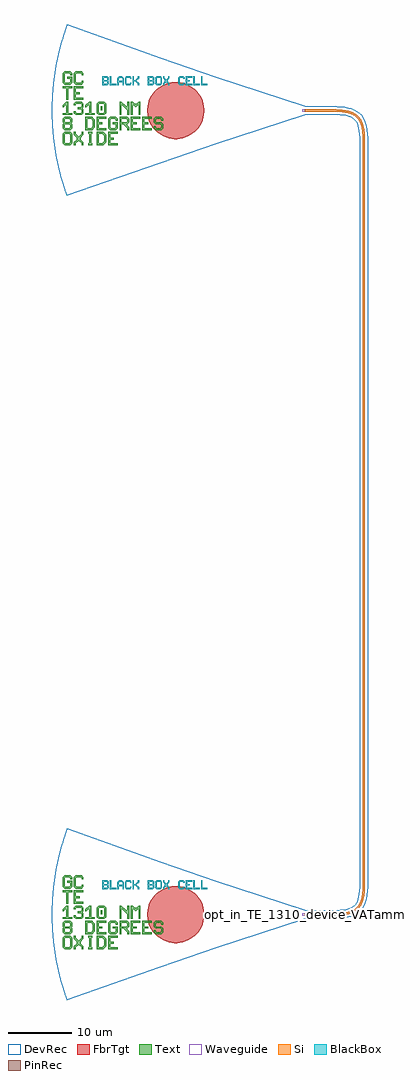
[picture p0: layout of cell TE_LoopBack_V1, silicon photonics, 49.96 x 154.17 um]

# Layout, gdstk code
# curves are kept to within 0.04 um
import gdstk
lib = gdstk.Library(unit=1e-6, precision=1e-09)
def R(c, l, rs):  # rectangles x0, y0, x1, y1
    for r in rs: c.add(gdstk.rectangle(r[:2], r[2:], *l))
def P(c, l, *ps):  # polygons
    for p in ps: c.add(gdstk.Polygon(p, *l))
Si = (1, 0)
PinRec = (1, 10)
Waveguide = (1, 99)
Text = (10, 0)
DevRec = (68, 0)
FbrTgt = (81, 0)
BlackBox = (998, 0)

waveguide_13 = lib.new_cell('Waveguide$13')
P(waveguide_13, Si, [(39.99,267.265),(39.99,267.615),(45.336,267.643),(46.522,267.783),(47.435,268.059),(47.845,268.284),(48.186,268.564),(48.467,268.906),(48.692,269.316),(48.997,270.383),(49.118,271.608),(49.135,389.44),(49.095,390.652),(48.937,391.798),(48.785,392.33),(48.585,392.78),(48.333,393.155),(48.024,393.464),(47.319,393.871),(46.367,394.127),(45.335,394.238),(39.99,394.265),(39.99,394.615),(45.158,394.598),(46.262,394.498),(47.18,394.292),(47.931,393.957),(48.434,393.564),(48.826,393.062),(49.161,392.311),(49.367,391.393),(49.475,390.086),(49.468,271.592),(49.312,270.163),(49.162,269.57),(48.954,269.051),(48.683,268.605),(48.343,268.229),(47.932,267.924),(47.577,267.739),(46.588,267.439),(45.356,267.293)])
P(waveguide_13, Waveguide, [(39.99,267.265),(39.99,267.615),(45.336,267.643),(46.522,267.783),(47.435,268.059),(47.845,268.284),(48.186,268.564),(48.467,268.906),(48.692,269.316),(48.997,270.383),(49.118,271.608),(49.135,389.44),(49.095,390.652),(48.937,391.798),(48.785,392.33),(48.585,392.78),(48.333,393.155),(48.024,393.464),(47.319,393.871),(46.367,394.127),(45.335,394.238),(39.99,394.265),(39.99,394.615),(45.158,394.598),(46.262,394.498),(47.18,394.292),(47.931,393.957),(48.434,393.564),(48.826,393.062),(49.161,392.311),(49.367,391.393),(49.475,390.086),(49.468,271.592),(49.312,270.163),(49.162,269.57),(48.954,269.051),(48.683,268.605),(48.343,268.229),(47.932,267.924),(47.577,267.739),(46.588,267.439),(45.356,267.293)])
P(waveguide_13, DevRec, [(39.99,266.765),(39.99,268.115),(45.547,268.158),(46.519,268.293),(46.909,268.395),(47.508,268.662),(47.735,268.826),(48.089,269.243),(48.356,269.842),(48.537,270.685),(48.625,271.788),(48.635,389.44),(48.592,390.677),(48.457,391.649),(48.355,392.039),(48.088,392.638),(47.924,392.865),(47.507,393.219),(46.908,393.486),(46.065,393.667),(44.962,393.755),(39.99,393.765),(39.99,395.115),(45.008,395.105),(46.251,395.005),(47.314,394.774),(48.221,394.365),(48.61,394.081),(49.234,393.352),(49.643,392.445),(49.874,391.382),(49.974,390.14),(49.975,271.742),(49.778,269.946),(49.465,268.962),(48.951,268.14),(48.611,267.8),(47.789,267.286),(46.805,266.973),(45.655,266.812)])
waveguide_13.add(gdstk.FlexPath([(40,394.44),(39.98,394.44)], 0.35, ends="flush", simple_path=True, layer=1, datatype=10))  # PinRec
waveguide_13.add(gdstk.FlexPath([(40,267.44),(39.98,267.44)], 0.35, ends="flush", simple_path=True, layer=1, datatype=10))  # PinRec
waveguide_13.add(gdstk.Label('opt1', (39.99,394.44), layer=1, texttype=10))
waveguide_13.add(gdstk.Label('opt2', (39.99,267.44), layer=1, texttype=10))
waveguide_13.add(gdstk.Label('Lumerical_INTERCONNECT_library=Design kits/EBeam', (39.99,394.37), layer=68, texttype=0))
waveguide_13.add(gdstk.Label('Component=ebeam_wg_integral_1310', (39.99,394.51), layer=68, texttype=0))
waveguide_13.add(gdstk.Label('cellName=Waveguide', (39.99,394.58), layer=68, texttype=0))
waveguide_13.add(gdstk.Label('Spice_param:wg_length=0.000142547 wg_width=3.5e-07 points="[[39.99,394.44],[49.31,394.44],[49.31,267.44],[39.99,267.44]]" radius=5e-06', (39.99,394.44), layer=68, texttype=0))
waveguide_13.add(gdstk.Label('Length=142.547 (microns)', (39.99,394.02), layer=68, texttype=0))
waveguide_13.add(gdstk.Label('waveguide_type=Strip TE 1310 nm, w=350 nm', (39.99,394.3), layer=68, texttype=0))

text = lib.new_cell('TEXT')
P(text, BlackBox, [(0,0),(0,1.4),(0.8,1.4),(1,1.2),(0.2,1.2),(0.2,0.8),(0.7,0.8),(0.8,0.9),(0.8,1.1),(0.7,1.2),(1,1.2),(1,0.8),(0.9,0.7),(1,0.6),(0.2,0.6),(0.2,0.2),(0.7,0.2),(0.8,0.3),(0.8,0.5),(0.7,0.6),(1,0.6),(1,0.2),(0.8,0)],
  [(1.2,0),(1.2,1.4),(1.4,1.4),(1.4,0.2),(2.2,0.2),(2.2,0)],
  [(2.4,0),(2.4,1.1),(2.7,1.4),(3.1,1.4),(3.3,1.2),(2.8,1.2),(2.6,1),(2.6,0.7),(3.2,0.7),(3.2,1),(3,1.2),(3.3,1.2),(3.4,1.1),(3.4,0),(3.2,0),(3.2,0.5),(2.6,0.5),(2.6,0)],
  [(3.8,0),(3.6,0.2),(3.6,1.2),(3.8,1.4),(4.4,1.4),(4.6,1.2),(4.6,1),(4.4,1),(4.4,1.1),(4.3,1.2),(3.9,1.2),(3.8,1.1),(3.8,0.3),(3.9,0.2),(4.3,0.2),(4.4,0.3),(4.4,0.4),(4.6,0.4),(4.6,0.2),(4.4,0)],
  [(4.8,0),(4.8,1.4),(5,1.4),(5,0.8),(5.2,0.8),(5.6,1.2),(5.6,1.4),(5.8,1.4),(5.8,1.1),(5.4,0.7),(5.8,0.3),(5.8,0),(5.6,0),(5.6,0.2),(5.2,0.6),(5,0.6),(5,0)],
  [(7.2,0),(7.2,1.4),(8,1.4),(8.2,1.2),(7.4,1.2),(7.4,0.8),(7.9,0.8),(8,0.9),(8,1.1),(7.9,1.2),(8.2,1.2),(8.2,0.8),(8.1,0.7),(8.2,0.6),(7.4,0.6),(7.4,0.2),(7.9,0.2),(8,0.3),(8,0.5),(7.9,0.6),(8.2,0.6),(8.2,0.2),(8,0)],
  [(8.6,0),(8.4,0.2),(8.4,1.2),(8.6,1.4),(9.2,1.4),(9.4,1.2),(9.4,0.7),(9.2,0.7),(9.2,1.1),(9.1,1.2),(8.7,1.2),(8.6,1.1),(8.6,0.3),(8.7,0.2),(9.1,0.2),(9.2,0.3),(9.2,0.7),(9.4,0.7),(9.4,0.2),(9.2,0)],
  [(9.6,0),(9.6,0.3),(9.9,0.6),(9.9,0.8),(9.6,1.1),(9.6,1.4),(9.8,1.4),(9.8,1.2),(10.1,0.9),(10.4,1.2),(10.4,1.4),(10.6,1.4),(10.6,1.1),(10.3,0.8),(10.3,0.6),(10.6,0.3),(10.6,0),(10.4,0),(10.4,0.2),(10.1,0.5),(9.8,0.2),(9.8,0)],
  [(12.2,0),(12,0.2),(12,1.2),(12.2,1.4),(12.8,1.4),(13,1.2),(13,1),(12.8,1),(12.8,1.1),(12.7,1.2),(12.3,1.2),(12.2,1.1),(12.2,0.3),(12.3,0.2),(12.7,0.2),(12.8,0.3),(12.8,0.4),(13,0.4),(13,0.2),(12.8,0)],
  [(13.2,0),(13.2,1.4),(14.2,1.4),(14.2,1.2),(13.4,1.2),(13.4,0.8),(13.8,0.8),(13.8,0.6),(13.4,0.6),(13.4,0.2),(14.2,0.2),(14.2,0)],
  [(14.4,0),(14.4,1.4),(14.6,1.4),(14.6,0.2),(15.4,0.2),(15.4,0)],
  [(15.6,0),(15.6,1.4),(15.8,1.4),(15.8,0.2),(16.6,0.2),(16.6,0)])

gc_te_1310_8degoxide_bb = lib.new_cell('GC_TE_1310_8degOxide_BB')
R(gc_te_1310_8degoxide_bb, Waveguide, [(-0.4,-0.175,0,0.175)])
R(gc_te_1310_8degoxide_bb, Text, [(-32.27,0.06,-31.97,0.66)])
P(gc_te_1310_8degoxide_bb, Text, [(-37.67,1.71),(-37.67,3.51),(-38.27,3.51),(-38.27,3.81),(-36.77,3.81),(-36.77,3.51),(-37.37,3.51),(-37.37,1.71)],
  [(-37.97,-5.49),(-38.27,-5.19),(-38.27,-3.69),(-37.97,-3.39),(-37.07,-3.39),(-36.77,-3.69),(-36.77,-4.44),(-37.07,-4.44),(-37.07,-3.84),(-37.22,-3.69),(-37.82,-3.69),(-37.97,-3.84),(-37.97,-5.04),(-37.82,-5.19),(-37.22,-5.19),(-37.07,-5.04),(-37.07,-4.44),(-36.77,-4.44),(-36.77,-5.19),(-37.07,-5.49)],
  [(-31.07,-5.49),(-31.07,-3.39),(-29.57,-3.39),(-29.57,-3.69),(-30.77,-3.69),(-30.77,-4.29),(-30.17,-4.29),(-30.17,-4.59),(-30.77,-4.59),(-30.77,-5.19),(-29.57,-5.19),(-29.57,-5.49)],
  [(-32.87,-3.09),(-32.87,-0.99),(-31.37,-0.99),(-31.37,-1.29),(-32.57,-1.29),(-32.57,-1.89),(-31.97,-1.89),(-31.97,-2.19),(-32.57,-2.19),(-32.57,-2.79),(-31.37,-2.79),(-31.37,-3.09)],
  [(-27.47,-3.09),(-27.47,-0.99),(-25.97,-0.99),(-25.97,-1.29),(-27.17,-1.29),(-27.17,-1.89),(-26.57,-1.89),(-26.57,-2.19),(-27.17,-2.19),(-27.17,-2.79),(-25.97,-2.79),(-25.97,-3.09)],
  [(-25.67,-3.09),(-25.67,-0.99),(-24.17,-0.99),(-24.17,-1.29),(-25.37,-1.29),(-25.37,-1.89),(-24.77,-1.89),(-24.77,-2.19),(-25.37,-2.19),(-25.37,-2.79),(-24.17,-2.79),(-24.17,-3.09)],
  [(-36.47,1.71),(-36.47,3.81),(-34.97,3.81),(-34.97,3.51),(-36.17,3.51),(-36.17,2.91),(-35.57,2.91),(-35.57,2.61),(-36.17,2.61),(-36.17,2.01),(-34.97,2.01),(-34.97,1.71)],
  [(-27.47,-0.69),(-27.47,1.41),(-27.17,1.41),(-26.87,1.11),(-26.57,1.11),(-26.27,1.41),(-25.97,1.41),(-25.97,-0.69),(-26.27,-0.69),(-26.27,0.81),(-26.42,0.81),(-26.72,0.51),(-27.02,0.81),(-27.17,0.81),(-27.17,-0.69)],
  [(-29.27,-0.69),(-29.27,1.41),(-28.97,1.41),(-28.22,0.66),(-28.07,0.66),(-28.07,1.41),(-27.77,1.41),(-27.77,-0.69),(-28.07,-0.69),(-28.07,0.06),(-28.82,0.81),(-28.97,0.81),(-28.97,-0.69)],
  [(-34.22,-5.49),(-34.22,-5.19),(-34.07,-5.19),(-34.07,-3.69),(-34.22,-3.69),(-34.22,-3.39),(-33.62,-3.39),(-33.62,-3.69),(-33.77,-3.69),(-33.77,-5.19),(-33.62,-5.19),(-33.62,-5.49)],
  [(-36.17,-0.69),(-36.47,-0.39),(-36.47,-0.09),(-36.17,-0.09),(-36.17,-0.24),(-36.02,-0.39),(-35.42,-0.39),(-35.27,-0.24),(-35.27,0.06),(-35.42,0.21),(-35.87,0.21),(-35.87,0.51),(-35.42,0.51),(-35.27,0.66),(-35.27,0.96),(-35.42,1.11),(-36.02,1.11),(-36.17,0.96),(-36.17,0.81),(-36.47,0.81),(-36.47,1.11),(-36.17,1.41),(-35.27,1.41),(-34.97,1.11),(-34.97,0.51),(-35.12,0.36),(-34.97,0.21),(-34.97,-0.39),(-35.27,-0.69)],
  [(-29.27,-3.09),(-29.27,-0.99),(-28.07,-0.99),(-27.77,-1.29),(-28.97,-1.29),(-28.97,-1.89),(-28.22,-1.89),(-28.07,-1.74),(-28.07,-1.44),(-28.22,-1.29),(-27.77,-1.29),(-27.77,-1.89),(-28.07,-2.19),(-28.07,-2.34),(-27.77,-2.64),(-27.77,-3.09),(-28.07,-3.09),(-28.07,-2.79),(-28.67,-2.19),(-28.97,-2.19),(-28.97,-3.09)],
  [(-30.77,-3.09),(-31.07,-2.79),(-31.07,-1.29),(-30.77,-0.99),(-29.87,-0.99),(-29.57,-1.29),(-29.57,-1.59),(-29.87,-1.59),(-29.87,-1.44),(-30.02,-1.29),(-30.62,-1.29),(-30.77,-1.44),(-30.77,-2.64),(-30.62,-2.79),(-30.02,-2.79),(-29.87,-2.64),(-29.87,-2.19),(-30.32,-2.19),(-30.32,-1.89),(-29.57,-1.89),(-29.57,-2.79),(-29.87,-3.09)],
  [(-37.97,4.11),(-38.27,4.41),(-38.27,5.91),(-37.97,6.21),(-37.07,6.21),(-36.77,5.91),(-36.77,5.61),(-37.07,5.61),(-37.07,5.76),(-37.22,5.91),(-37.82,5.91),(-37.97,5.76),(-37.97,4.56),(-37.82,4.41),(-37.22,4.41),(-37.07,4.56),(-37.07,5.01),(-37.52,5.01),(-37.52,5.31),(-36.77,5.31),(-36.77,4.41),(-37.07,4.11)],
  [(-32.57,-0.69),(-32.87,-0.39),(-32.87,1.11),(-32.57,1.41),(-31.67,1.41),(-31.37,1.11),(-32.42,1.11),(-32.57,0.96),(-32.57,-0.24),(-32.42,-0.39),(-31.82,-0.39),(-31.67,-0.24),(-31.67,0.96),(-31.82,1.11),(-31.37,1.11),(-31.37,-0.39),(-31.67,-0.69)],
  [(-32.87,-5.49),(-32.87,-3.39),(-31.82,-3.39),(-31.52,-3.69),(-32.57,-3.69),(-32.57,-5.19),(-31.97,-5.19),(-31.67,-4.89),(-31.67,-3.99),(-31.97,-3.69),(-31.52,-3.69),(-31.37,-3.84),(-31.37,-5.04),(-31.82,-5.49)],
  [(-34.67,-3.09),(-34.67,-0.99),(-33.62,-0.99),(-33.32,-1.29),(-34.37,-1.29),(-34.37,-2.79),(-33.77,-2.79),(-33.47,-2.49),(-33.47,-1.59),(-33.77,-1.29),(-33.32,-1.29),(-33.17,-1.44),(-33.17,-2.64),(-33.62,-3.09)],
  [(-23.57,-3.09),(-23.87,-2.79),(-23.87,-2.49),(-23.57,-2.49),(-23.57,-2.64),(-23.42,-2.79),(-22.82,-2.79),(-22.67,-2.64),(-22.67,-2.34),(-22.82,-2.19),(-23.57,-2.19),(-23.87,-1.89),(-23.87,-1.29),(-23.57,-0.99),(-22.67,-0.99),(-22.37,-1.29),(-22.37,-1.59),(-22.67,-1.59),(-22.67,-1.44),(-22.82,-1.29),(-23.42,-1.29),(-23.57,-1.44),(-23.57,-1.74),(-23.42,-1.89),(-22.67,-1.89),(-22.37,-2.19),(-22.37,-2.79),(-22.67,-3.09)],
  [(-37.97,-3.09),(-38.27,-2.79),(-38.27,-2.19),(-38.12,-2.04),(-38.27,-1.89),(-38.27,-1.29),(-37.97,-0.99),(-37.07,-0.99),(-36.77,-1.29),(-37.82,-1.29),(-37.97,-1.44),(-37.97,-1.74),(-37.82,-1.89),(-37.22,-1.89),(-37.07,-1.74),(-37.07,-1.44),(-37.22,-1.29),(-36.77,-1.29),(-36.77,-1.89),(-36.92,-2.04),(-36.77,-2.19),(-37.82,-2.19),(-37.97,-2.34),(-37.97,-2.64),(-37.82,-2.79),(-37.22,-2.79),(-37.07,-2.64),(-37.07,-2.34),(-37.22,-2.19),(-36.77,-2.19),(-36.77,-2.79),(-37.07,-3.09)],
  [(-38.27,-0.69),(-38.27,-0.39),(-37.67,-0.39),(-37.67,0.81),(-37.82,0.81),(-38.12,0.51),(-38.27,0.51),(-38.27,0.81),(-37.67,1.41),(-37.37,1.41),(-37.37,-0.39),(-36.77,-0.39),(-36.77,-0.69)],
  [(-34.67,-0.69),(-34.67,-0.39),(-34.07,-0.39),(-34.07,0.81),(-34.22,0.81),(-34.52,0.51),(-34.67,0.51),(-34.67,0.81),(-34.07,1.41),(-33.77,1.41),(-33.77,-0.39),(-33.17,-0.39),(-33.17,-0.69)],
  [(-36.47,-5.49),(-36.47,-5.04),(-36.02,-4.59),(-36.02,-4.29),(-36.47,-3.84),(-36.47,-3.39),(-36.17,-3.39),(-36.17,-3.69),(-35.72,-4.14),(-35.27,-3.69),(-35.27,-3.39),(-34.97,-3.39),(-34.97,-3.84),(-35.42,-4.29),(-35.42,-4.59),(-34.97,-5.04),(-34.97,-5.49),(-35.27,-5.49),(-35.27,-5.19),(-35.72,-4.74),(-36.17,-5.19),(-36.17,-5.49)],
  [(-36.17,4.11),(-36.47,4.41),(-36.47,5.91),(-36.17,6.21),(-35.27,6.21),(-34.97,5.91),(-34.97,5.61),(-35.27,5.61),(-35.27,5.76),(-35.42,5.91),(-36.02,5.91),(-36.17,5.76),(-36.17,4.56),(-36.02,4.41),(-35.42,4.41),(-35.27,4.56),(-35.27,4.71),(-34.97,4.71),(-34.97,4.41),(-35.27,4.11)])
P(gc_te_1310_8degoxide_bb, DevRec, [(-37.607,-13.5),(-38.627,-10.245),(-39.378,-6.832),(-39.647,-5.058),(-39.835,-3.274),(-39.969,0.224),(-39.812,3.541),(-39.331,7.097),(-38.557,10.505),(-37.546,13.669),(-22.8,8.353),(-14.109,5.36),(0,0.75),(0,-0.75),(-14.109,-5.36)])
P(gc_te_1310_8degoxide_bb, FbrTgt, [(-20.621,-4.5),(-21.495,-4.37),(-22.326,-4.073),(-23.084,-3.619),(-23.738,-3.026),(-24.264,-2.316),(-24.642,-1.518),(-24.857,-0.661),(-24.9,0.221),(-24.77,1.095),(-24.473,1.926),(-24.019,2.684),(-23.426,3.338),(-22.716,3.864),(-21.918,4.242),(-21.061,4.457),(-20.179,4.5),(-19.305,4.37),(-18.474,4.073),(-17.716,3.619),(-17.062,3.026),(-16.536,2.316),(-16.158,1.518),(-15.943,0.661),(-15.9,-0.221),(-16.03,-1.095),(-16.327,-1.926),(-16.781,-2.684),(-17.374,-3.338),(-18.084,-3.864),(-18.882,-4.242),(-19.739,-4.457)])
gc_te_1310_8degoxide_bb.add(gdstk.FlexPath([(-0.01,0),(0.01,0)], 0.35, ends="flush", simple_path=True, layer=1, datatype=10))  # PinRec
gc_te_1310_8degoxide_bb.add(gdstk.Reference(text, (-32,4)))
gc_te_1310_8degoxide_bb.add(gdstk.Label('opt1', (0,0), layer=1, texttype=10))
gc_te_1310_8degoxide_bb.add(gdstk.Label('Lumerical_INTERCONNECT_library=Design kits/ebeam', (-29,-7), layer=68, texttype=0))
gc_te_1310_8degoxide_bb.add(gdstk.Label('Component=GC_TE_1310_8degOxide_BB', (-28,-5), layer=68, texttype=0))

te_loopback_v1 = lib.new_cell('TE_LoopBack_V1')
te_loopback_v1.add(gdstk.Reference(waveguide_13, (0,0)))
te_loopback_v1.add(gdstk.Reference(gc_te_1310_8degoxide_bb, (39.99,267.44)))
te_loopback_v1.add(gdstk.Reference(gc_te_1310_8degoxide_bb, (39.99,394.44)))
te_loopback_v1.add(gdstk.Label('opt_in_TE_1310_device_VATamma_devV1LoopBack', (39.99,267.44), layer=10, texttype=0))

lib.write_gds('TE_LoopBack_V1.gds')
